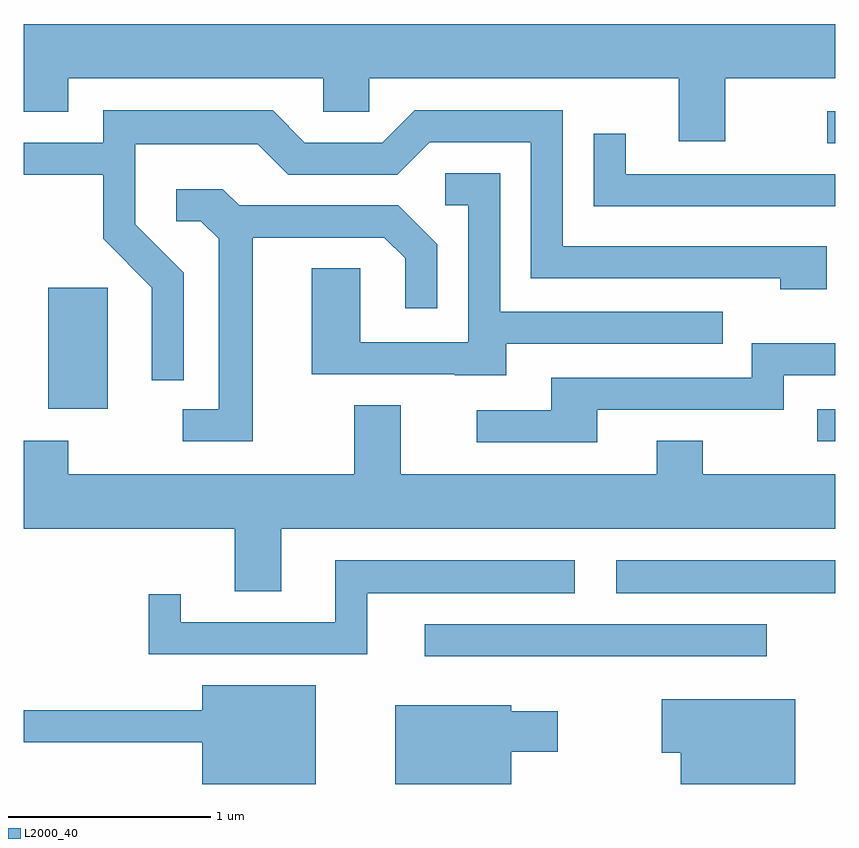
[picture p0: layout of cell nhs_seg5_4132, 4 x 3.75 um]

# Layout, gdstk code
import gdstk
lib = gdstk.Library(unit=1e-6, precision=1e-09)
def R(c, l, rs):  # rectangles x0, y0, x1, y1
    for r in rs: c.add(gdstk.rectangle(r[:2], r[2:], *l))
def P(c, l, *ps):  # polygons
    for p in ps: c.add(gdstk.Polygon(p, *l))
L2000_40 = (2000, 40)

nhs_seg5_4132 = lib.new_cell('nhs_seg5_4132')
R(nhs_seg5_4132, L2000_40, [(309.588,1462.826,311.273,1462.984), (310.533,1463.136,311.611,1463.299), (311.523,1463.886,311.611,1464.044), (307.731,1464.046,308.024,1464.644), (311.573,1465.356,311.611,1465.514)])
P(nhs_seg5_4132, L2000_40, [(311.069,1465.676),(311.611,1465.676),(311.611,1465.944),(307.611,1465.944),(307.611,1465.511),(307.829,1465.511),(307.829,1465.676),(309.086,1465.676),(309.086,1465.511),(309.314,1465.511),(309.314,1465.676),(310.841,1465.676),(310.841,1465.366),(311.069,1465.366)],
  [(308.399,1464.717),(308.159,1464.957),(308.159,1465.351),(308.764,1465.351),(308.914,1465.201),(309.452,1465.201),(309.612,1465.361),(310.111,1465.361),(310.111,1464.691),(311.341,1464.691),(311.341,1464.636),(311.569,1464.636),(311.569,1464.849),(310.269,1464.849),(310.269,1465.519),(309.539,1465.519),(309.379,1465.359),(308.997,1465.359),(308.837,1465.519),(308.001,1465.519),(308.001,1465.359),(307.611,1465.359),(307.611,1465.201),(308.001,1465.201),(308.001,1464.884),(308.241,1464.644),(308.241,1464.188),(308.399,1464.188)],
  [(311.611,1465.204),(310.579,1465.204),(310.579,1465.403),(310.421,1465.403),(310.421,1465.046),(311.611,1465.046)],
  [(309.989,1464.366),(311.058,1464.366),(311.058,1464.524),(309.959,1464.524),(309.959,1465.209),(309.688,1465.209),(309.688,1465.051),(309.801,1465.051),(309.801,1464.374),(309.269,1464.374),(309.269,1464.739),(309.031,1464.739),(309.031,1464.216),(309.735,1464.216),(309.735,1464.211),(309.989,1464.211)],
  [(308.739,1464.891),(309.389,1464.891),(309.491,1464.789),(309.491,1464.543),(309.649,1464.543),(309.649,1464.857),(309.457,1465.049),(308.672,1465.049),(308.592,1465.129),(308.363,1465.129),(308.363,1464.971),(308.484,1464.971),(308.571,1464.884),(308.571,1464.044),(308.393,1464.044),(308.393,1463.886),(308.739,1463.886)],
  [(310.439,1464.041),(311.359,1464.041),(311.359,1464.211),(311.611,1464.211),(311.611,1464.369),(311.201,1464.369),(311.201,1464.199),(310.211,1464.199),(310.211,1464.039),(309.843,1464.039),(309.843,1463.881),(310.439,1463.881)],
  [(308.879,1463.456),(311.611,1463.456),(311.611,1463.724),(310.959,1463.724),(310.959,1463.889),(310.731,1463.889),(310.731,1463.724),(309.469,1463.724),(309.469,1464.064),(309.241,1464.064),(309.241,1463.724),(307.829,1463.724),(307.829,1463.889),(307.611,1463.889),(307.611,1463.456),(308.651,1463.456),(308.651,1463.146),(308.879,1463.146)],
  [(309.304,1463.136),(310.328,1463.136),(310.328,1463.299),(309.146,1463.299),(309.146,1462.994),(308.384,1462.994),(308.384,1463.133),(308.226,1463.133),(308.226,1462.836),(309.304,1462.836)],
  [(309.049,1462.684),(308.491,1462.684),(308.491,1462.559),(307.611,1462.559),(307.611,1462.401),(308.491,1462.401),(308.491,1462.196),(309.049,1462.196)],
  [(311.414,1462.614),(310.756,1462.614),(310.756,1462.351),(310.851,1462.351),(310.851,1462.196),(311.414,1462.196)],
  [(310.014,1462.356),(310.244,1462.356),(310.244,1462.554),(310.014,1462.554),(310.014,1462.584),(309.441,1462.584),(309.441,1462.196),(310.014,1462.196)])

lib.write_gds('nhs_seg5_4132.gds')
